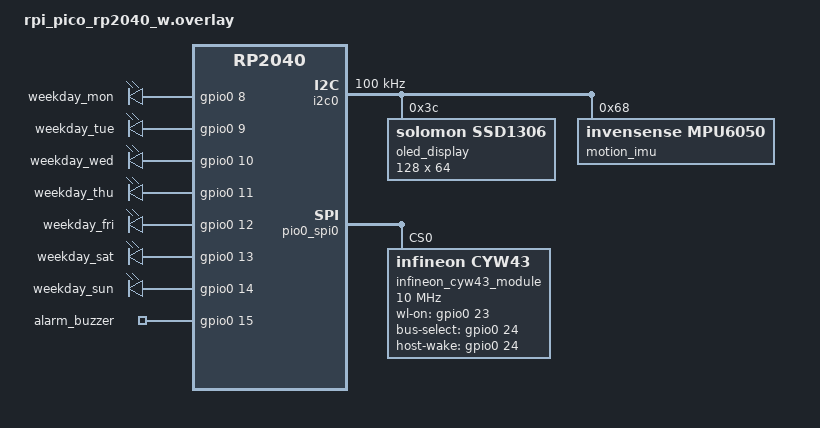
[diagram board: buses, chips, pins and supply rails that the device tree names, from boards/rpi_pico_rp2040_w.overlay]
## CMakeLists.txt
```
# SPDX-License-Identifier: Apache-2.0

cmake_minimum_required(VERSION 3.20.0)

# Pull in the zephyr-cyw43-driver as an extra Zephyr module.
# This project is used in two workspace layouts:
# 1. Original local workspace: <topdir>/pico_w_peripheral_bt and <topdir>/zephyr-cyw43-driver
# 2. Manifest clone via `west init -l .`: <topdir>/pico-w-peripheral-bt-manifest/pico_w_peripheral_bt
#    and <topdir>/zephyr-cyw43-driver
set(cyw43_module_candidates
  "${CMAKE_CURRENT_SOURCE_DIR}/../zephyr-cyw43-driver"
  "${CMAKE_CURRENT_SOURCE_DIR}/../../zephyr-cyw43-driver"
)

foreach(module_dir IN LISTS cyw43_module_candidates)
  if(EXISTS "${module_dir}/zephyr/module.yml")
    set(ZEPHYR_EXTRA_MODULES "${module_dir}")
    break()
  endif()
endforeach()

if(NOT ZEPHYR_EXTRA_MODULES)
  message(FATAL_ERROR
    "zephyr-cyw43-driver module not found. Expected one of: ${cyw43_module_candidates}"
  )
endif()

find_package(Zephyr REQUIRED HINTS $ENV{ZEPHYR_BASE})
project(pico_w_peripheral_bt)

target_sources(app PRIVATE
  src/main.c
  src/app_api.c
  src/pill/alarm/alarm_model.c
  src/pill/alarm/alarm_scheduler.c
  src/pill/alarm/alarm_ctrl.c
  src/pill/services/app_settings.c
  src/pill/hw/pill_hw.c
  src/pill/hw/display.c
  src/pill/hw/leds.c
  src/pill/hw/battery_adc.c
  src/pill/services/ble_validation.c
  src/ble/ble_core.c
  src/ble/ble_service.c
  src/ble/services/cts/cts_svc.c
  src/ble/services/ias/ias_svc.c
  src/ble/services/pill/pill_svc.c
)

# Allow source tree and pill include dir to resolve "pill/..." headers
target_include_directories(app PRIVATE
  ${CMAKE_CURRENT_SOURCE_DIR}/src
  ${CMAKE_CURRENT_SOURCE_DIR}/src/pill/include
)
```

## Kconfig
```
# SPDX-License-Identifier: Apache-2.0

menu "Pico W Smart Pill Alarm"

config PILL_MAX_ALARMS
	int "Maximum stored alarms"
	range 1 16
	default 8
	help
	  Maximum number of medication alarms stored in flash and exposed over BLE.

config PILL_MAX_KINDS
		int "Maximum pill kinds"
		range 1 64
		default 64
		help
			Maximum number of pill kinds that can be named and selected on the device.
			Controls the size of the pill-kind name table and the bitmask width.

config PILL_LOW_BATTERY_THRESHOLD_PERCENT
	int "Low battery threshold percent"
	range 1 99
	default 20
	help
	  Battery percentage threshold used to flag low-battery state and notify BLE peers.

config PILL_MOTION_THRESHOLD_MILLI_G
	int "Motion clear threshold (milli-g)"
	range 100 5000
	default 600
	help
	  Motion magnitude threshold for clearing an active alarm with MPU-6050.

config PILL_MOTION_HITS_TO_CLEAR
	int "Motion hits required to clear"
	range 1 10
	default 2
	help
	  Number of consecutive motion samples above threshold required to clear alarm.

menu "Module toggles"
	comment "Set any flag to 'n' to disable that module for isolated testing."

config PILL_BUZZER
	bool "Enable buzzer alarm output"
	default y
	help
	  Enable the piezo buzzer (GP15) for alarm notification. When disabled
	  pill_hw_set_alarm_active() becomes a no-op so no GPIO is toggled.

config PILL_MOTION_SENSOR
	bool "Enable motion-sensor alarm cancel"
	default y
	help
	  Enable MPU-6050 accelerometer polling to clear an active alarm on
	  movement. When disabled pill_hw_poll_motion_clear() always returns false.

config PILL_DISPLAY
	bool "Enable OLED display output"
	default y
	help
	  Enable the SSD1306 128x64 OLED display (I2C0). Presenter module is
	  Phase-2; disabling this skips display initialisation at startup.

config PILL_WEEKDAY_LEDS
	bool "Enable weekday LED indicators"
	default y
	help
	  Enable the 7 GPIO weekday LEDs (GP8-GP14). LED runtime control is
	  Phase-2; disabling this skips LED GPIO initialisation.

config PILL_BATTERY_ADC
	bool "Enable real battery ADC measurement"
	default n
	help
	  Use the ADC input (GP26) to measure actual Li-ion battery voltage.
	  Phase-2 feature; when disabled pill_hw_get_battery_percent() returns
	  the compile-time placeholder value 95 %.

config PILL_BLE_SERVICE
	bool "Enable custom pill alarm BLE GATT service"
	default y
	help
	  Register the proprietary pill-alarm GATT service (alarm table,
	  command write, status notify) over BLE. When disabled the device still
	  advertises BAS / CTS / IAS but no pill-service UUID is exposed.

config PILL_SETTINGS
	bool "Enable NVS alarm and epoch persistence"
	default y
	depends on SETTINGS
	help
	  Persist alarm table and last-known epoch to NVS via the settings
	  subsystem so alarms survive a power cycle. When disabled alarms revert
	  to defaults on every boot.

endmenu

endmenu

source "Kconfig.zephyr"
```

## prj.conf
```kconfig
# SPDX-License-Identifier: Apache-2.0
#
# prj.conf for Raspberry Pi Pico W BLE Peripheral application.
#
# The CYW43439 chip on the Pico W exposes Bluetooth via the same SPI bus as
# WiFi (PIO-SPI, not UART).  The beechwoods zephyr-cyw43-driver is used to
# initialise the chip and provide the HCI interface to Zephyr's BT stack.
# A minimal networking layer is required because that driver selects
# WIFI_USE_NATIVE_NETWORKING internally.

# ---------------------------------------------------------------------------
# Stack / heap sizes – the CYW43 driver is stack-hungry
# ---------------------------------------------------------------------------
CONFIG_SYSTEM_WORKQUEUE_STACK_SIZE=4096
CONFIG_MAIN_STACK_SIZE=4096
CONFIG_HEAP_MEM_POOL_SIZE=16384
# BT RX thread stack – default 1024 B is too small when large GATT payloads
# are decoded (e.g. kind-name table). Bump to 2048 B for safety margin.
CONFIG_BT_RX_STACK_SIZE=2048

# ---------------------------------------------------------------------------
# CYW43 WiFi/BT driver (beechwoods – BT-over-SPI support)
# ---------------------------------------------------------------------------
CONFIG_WIFI=y
CONFIG_WIFI_ZEPHYR_CYW43=y

# Disable the official Infineon AIROC WiFi and UART-HCI BT drivers so they
# don't conflict with the beechwoods driver.
CONFIG_WIFI_AIROC=n
CONFIG_CYW43439=n

# Entropy / RNG required by CYW43 driver
CONFIG_ENTROPY_GENERATOR=y
CONFIG_TEST_RANDOM_GENERATOR=y

# ---------------------------------------------------------------------------
# Minimal networking stack (selected by WIFI_ZEPHYR_CYW43)
# ---------------------------------------------------------------------------
CONFIG_NETWORKING=y
CONFIG_NET_L2_ETHERNET=y
CONFIG_NET_IPV4=y
CONFIG_NET_IPV6=n
CONFIG_NET_UDP=y
CONFIG_NET_TCP=y
CONFIG_NET_MGMT=y
CONFIG_NET_MGMT_EVENT=y
CONFIG_NET_CONFIG_SETTINGS=y
CONFIG_NET_CONFIG_AUTO_INIT=n
CONFIG_NET_CONFIG_INIT_TIMEOUT=0

# ---------------------------------------------------------------------------
# Bluetooth – peripheral role
# ---------------------------------------------------------------------------
CONFIG_BT=y
CONFIG_LOG=y
CONFIG_BT_SMP=y
CONFIG_BT_PERIPHERAL=y

# Device Information Service
CONFIG_BT_DIS=y

# Battery Service
CONFIG_BT_BAS=y

# Immediate Alert Service
CONFIG_BT_IAS=y

# Current Time Service
CONFIG_BT_CTS=y
CONFIG_BT_CTS_HELPER_API=y

# Smart pill alarm baseline peripherals
CONFIG_SENSOR=y
CONFIG_MPU6050=y
CONFIG_MPU6050_TRIGGER_NONE=y
CONFIG_DISPLAY=y
CONFIG_SSD1306=y
CONFIG_LED=y
CONFIG_LED_GPIO=y
CONFIG_GPIO=y
CONFIG_I2C=y
CONFIG_ADC=y
CONFIG_PILL_BATTERY_ADC=y

CONFIG_BT_ATT_PREPARE_COUNT=5
CONFIG_BT_PRIVACY=y
CONFIG_BT_DEVICE_NAME="Pico W Pill Alarm"
CONFIG_BT_DEVICE_APPEARANCE=833
CONFIG_BT_DEVICE_NAME_DYNAMIC=y
CONFIG_BT_DEVICE_NAME_MAX=65
CONFIG_BT_MAX_CONN=4
CONFIG_BT_ID_MAX=2

CONFIG_PILL_MAX_ALARMS=16
CONFIG_PILL_LOW_BATTERY_THRESHOLD_PERCENT=20
CONFIG_PILL_MOTION_THRESHOLD_MILLI_G=600
CONFIG_PILL_MOTION_HITS_TO_CLEAR=2



# ---------------------------------------------------------------------------
# Persistent bond / settings storage (NVS on internal flash)
# ---------------------------------------------------------------------------
CONFIG_BT_KEYS_OVERWRITE_OLDEST=y
CONFIG_BT_SETTINGS=y
CONFIG_FLASH=y
CONFIG_FLASH_MAP=y
CONFIG_FLASH_PAGE_LAYOUT=y
CONFIG_NVS=y
CONFIG_SETTINGS=y
```

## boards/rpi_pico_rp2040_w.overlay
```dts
/*
 * Copyright (c) 2024
 * SPDX-License-Identifier: Apache-2.0
 *
 * DTS overlay for Raspberry Pi Pico W - BLE peripheral application.
 * Uses the beechwoods zephyr-cyw43-driver for BT-over-SPI on the CYW43439.
 */

/ {
	chosen {
		zephyr,bt_hci = &cyw43_bt_hci;
		zephyr,display = &oled_display;
	};

	aliases {
		alarm-buzzer = &alarm_buzzer;
		motion-imu = &motion_imu;
		weekday-led0 = &weekday_led0;
		weekday-led1 = &weekday_led1;
		weekday-led2 = &weekday_led2;
		weekday-led3 = &weekday_led3;
		weekday-led4 = &weekday_led4;
		weekday-led5 = &weekday_led5;
		weekday-led6 = &weekday_led6;
	};

	leds {
		compatible = "gpio-leds";

		weekday_led0: weekday_led0 {
			gpios = <&gpio0 8 GPIO_ACTIVE_HIGH>;
			label = "weekday_mon";
		};
		weekday_led1: weekday_led1 {
			gpios = <&gpio0 9 GPIO_ACTIVE_HIGH>;
			label = "weekday_tue";
		};
		weekday_led2: weekday_led2 {
			gpios = <&gpio0 10 GPIO_ACTIVE_HIGH>;
			label = "weekday_wed";
		};
		weekday_led3: weekday_led3 {
			gpios = <&gpio0 11 GPIO_ACTIVE_HIGH>;
			label = "weekday_thu";
		};
		weekday_led4: weekday_led4 {
			gpios = <&gpio0 12 GPIO_ACTIVE_HIGH>;
			label = "weekday_fri";
		};
		weekday_led5: weekday_led5 {
			gpios = <&gpio0 13 GPIO_ACTIVE_HIGH>;
			label = "weekday_sat";
		};
		weekday_led6: weekday_led6 {
			gpios = <&gpio0 14 GPIO_ACTIVE_HIGH>;
			label = "weekday_sun";
		};

		alarm_buzzer: alarm_buzzer {
			gpios = <&gpio0 15 GPIO_ACTIVE_HIGH>;
			label = "alarm_buzzer";
		};
	};
};

/* Disable the stock AIROC node so it does not conflict */
&pio0_spi0 {
	airoc-wifi@0 {
		status = "disabled";
	};
};

/* Delete the old cyw43_gpio label from the disabled node to avoid conflict */
/delete-node/ &cyw43_gpio;

/*
 * Repartition flash to carve out storage for BT settings (NVS backend).
 * Flash is 2MB. Layout:
 *   0x000000 - 0x0000FF : second_stage_bootloader (256 B)
 *   0x000100 - 0x1BFFFF : code_partition (~1.75 MB)
 *   0x1C0000 - 0x1FFFFF : storage_partition (256 KB, 4 NVS sectors)
 */
&code_partition {
	reg = <0x100 0x1BFF00>;
};

&flash0 {
	partitions {
		storage_partition: partition@1c0000 {
			label = "storage";
			reg = <0x1c0000 DT_SIZE_K(256)>;
		};
	};
};

&i2c0 {
	status = "okay";
	clock-frequency = <I2C_BITRATE_STANDARD>;
	pinctrl-0 = <&i2c0_default>;
	pinctrl-names = "default";

	oled_display: ssd1306@3c {
		compatible = "solomon,ssd1306";
		reg = <0x3c>;
		segment-offset = <0>;
		page-offset = <0>;
		display-offset = <0>;
		multiplex-ratio = <63>;
		prechargep = <0x22>;
		height = <64>;
		width = <128>;
		segment-remap;
		com-invdir;
	};

	motion_imu: mpu6050@68 {
		compatible = "invensense,mpu6050";
		reg = <0x68>;
	};
};

/* Add the beechwoods CYW43 node with all required child nodes */
&pio0 {
	pio0_spi0: pio0_spi0 {
		infineon_cyw43_module: infineon_cyw43_module@0 {
			compatible = "infineon,cyw43";
			reg = <0x0>;
			spi-max-frequency = <10000000>;

			wl-on-gpios = <&gpio0 23 GPIO_ACTIVE_HIGH>;
			bus-select-gpios = <&gpio0 24 GPIO_ACTIVE_HIGH>;
			host-wake-gpios = <&gpio0 24 GPIO_ACTIVE_HIGH>;

			pinctrl-0 = <&airoc_wifi_default>;
			pinctrl-1 = <&airoc_wifi_host_wake>;
			pinctrl-names = "default", "host_wake";
			status = "okay";

			cyw43_led: cyw43_led {
				compatible = "infineon,cyw43-led";
			};

			cyw43_gpio: cyw43_gpio {
				compatible = "infineon,cyw43-gpio";
				gpio-controller;
				#gpio-cells = <2>;
				ngpios = <3>;
			};

			cyw43_bt_hci: cyw43_bt_hci {
				compatible = "infineon,cyw43-bt-hci";
				status = "okay";
			};
		};
	};
};
```

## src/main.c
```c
/* main.c - Smart Pill Alarm entry point for Raspberry Pi Pico W
 *
 * SPDX-License-Identifier: Apache-2.0
 *
 * Responsibilities (SRP):
 *   - Init all subsystems in the correct order.
 *   - Run the 1-second application tick loop.
 *   - Route tick results to BLE service outputs.
 *
 * Architecture:
 *   BLE framework (ble_core + ble_service) handles stack init,
 *   advertising, connection management, and service lifecycle.
 *   Each service is a self-contained module in ble/services/<svc>/.
 *
 *   Adding/removing a service:
 *     1. Create/delete directory with svc.h + svc.c
 *     2. Edit registry array in ble_service.c
 *     3. Add/remove source file in CMakeLists.txt
 *     4. No changes to main.c needed.
 */

#include <zephyr/bluetooth/services/bas.h>
#include <zephyr/kernel.h>
#include <zephyr/logging/log.h>

#include "app_api.h"
#include "ble/ble_core.h"
#include "ble/ble_service.h"
#include "pill/alarm_ctrl.h"
#include "pill/pill_hw.h"
#include "pill/display.h"
#include "pill/leds.h"

LOG_MODULE_REGISTER(main);

/* ---------------------------------------------------------------------------
 * BLE core event callbacks
 * -------------------------------------------------------------------------*/

static void on_connected(bool connected)
{
	if (connected) {
		LOG_INF("app: BLE connected");
		alarm_ctrl_set_connected(true);
	} else {
		LOG_INF("app: BLE disconnected — silencing alarm");
		alarm_ctrl_set_connected(false);
		alarm_ctrl_set_active(false, 0xFFU);
	}
}

static const struct ble_core_events g_core_events = {
	.on_connected = on_connected,
};

/* ---------------------------------------------------------------------------
 * Application entry point
 * -------------------------------------------------------------------------*/

int main(void)
{
	int err;
	const struct alarm_ctrl_api *api;
	struct app_api app;
	bool was_connected = false;
	uint8_t last_battery_percent = 0xFFU;

	LOG_INF("Pico W Smart Pill Alarm starting");

	/* Hardware must be quiet before BLE or domain init runs. */
	err = pill_hw_init();
	if (err != 0) {
		LOG_ERR("pill_hw_init failed (%d)", err);
		/* Continue — hardware init failure is non-fatal. */
	}

	/* Initialise domain state; loads persisted alarms/epoch if enabled. */
	alarm_ctrl_init();
	api = alarm_ctrl_get_api();

	/* Build aggregated app API for the service registry.
	 * Each service extracts only its own sub-API (Interface Segregation). */
	app = app_api_build(api);

	/* Initialise BLE core (bt_enable, callbacks, auth). */
	err = ble_core_init(&g_core_events);
	if (err != 0) {
		LOG_ERR("ble_core_init failed (%d)", err);
		return 0;
	}

	/* Start advertising (loads bonds, sets bondable mode). */
	err = ble_core_start_advertising();
	if (err != 0) {
		LOG_ERR("ble_core_start_advertising failed (%d)", err);
		return 0;
	}

	/* Initialise all registered BLE services.
	 * Each service's init() receives the app_api and extracts
	 * only the API pointers it needs. */
	ble_service_init_all(&app);

	/* Phase-2 presenters: display and weekday LEDs (console fallbacks).
	 * These are no-ops when the corresponding CONFIG flags are disabled. */
	(void)pill_display_init();
	(void)pill_leds_init();

	/* ------------------------------------------------------------------
	 * 1-second application tick loop
	 * ------------------------------------------------------------------*/
	while (1) {
		const struct alarm_ctrl_status *status;

		/* Domain tick: check motion, fire due alarms, update battery. */
		api->tick();
		status = api->get_status();

		/* Publish BAS only when connected and only on meaningful changes.
		 * This avoids periodic battery reports while disconnected.
		 */
		if (status->connected) {
			if (!was_connected ||
			    status->battery_percent != last_battery_percent) {
				int rc = bt_bas_set_battery_level(
						status->battery_percent);

				if (rc != 0) {
					LOG_WRN("bt_bas_set_battery_level returned %d", rc);
				} else {
					last_battery_percent = status->battery_percent;
				}
			}
		}
		was_connected = status->connected;

		/* Tick all registered BLE services (CTS notify, pill status, etc.). */
		ble_service_tick_all();

		/* Poll BLE core for maintenance tasks (advertising restart watchdog). */
		ble_core_poll();

		/* Update display presenter and weekday LEDs (Phase-2). */
		pill_display_show_status(status);
		{
			int64_t epoch = api->get_epoch_s();

			if (epoch > 0) {
				uint8_t weekday = (uint8_t)(((epoch / 86400) + 3) % 7);

				pill_leds_show_weekday(weekday);
			}
		}

		k_sleep(K_SECONDS(1));
	}

	return 0;
}
```

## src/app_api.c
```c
/* app_api.c - Build aggregated app API from alarm_ctrl_api
 *
 * SPDX-License-Identifier: Apache-2.0
 */

#include <stddef.h>

#include "app_api.h"

struct app_api app_api_build(const struct alarm_ctrl_api *alarm_api)
{
	struct app_api api;

	/* Zero-initialise everything to catch missing assignments. */
	api.cts.set_time_base = NULL;
	api.cts.get_epoch_s   = NULL;
	api.ias.set_active    = NULL;
	api.pill.set_active      = NULL;
	api.pill.is_active       = NULL;
	api.pill.get_active_idx  = NULL;
	api.pill.get_table       = NULL;
	api.pill.get_kind_table  = NULL;
	api.pill.get_status      = NULL;

	if (alarm_api == NULL) {
		return api;
	}

	/* CTS service only needs time-base functions. */
	api.cts.set_time_base = alarm_api->set_time_base;
	api.cts.get_epoch_s   = alarm_api->get_epoch_s;

	/* IAS service only needs set_active. */
	api.ias.set_active = alarm_api->set_active;

	/* Pill service needs the full alarm control interface. */
	api.pill.set_active     = alarm_api->set_active;
	api.pill.is_active      = alarm_api->is_active;
	api.pill.get_active_idx = alarm_api->get_active_idx;
	api.pill.get_table      = alarm_api->get_table;
	api.pill.get_kind_table = alarm_api->get_kind_table;
	api.pill.get_status     = alarm_api->get_status;

	return api;
}
```

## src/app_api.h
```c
/* app_api.h - Aggregated per-service API structs
 *
 * SPDX-License-Identifier: Apache-2.0
 *
 * Following Interface Segregation Principle, each BLE service
 * defines only the API struct it actually needs. This header
 * aggregates them all into a single struct that is built from
 * the alarm_ctrl_api and passed to ble_service_init_all().
 */

#ifndef APP_API_H_
#define APP_API_H_

#include <stdbool.h>
#include <stdint.h>

#include "pill/alarm_ctrl.h"
#include "pill/alarm_model.h"

/* ---------------------------------------------------------------------------
 * CTS service API — subset of alarm_ctrl_api
 * -------------------------------------------------------------------------*/
struct cts_svc_api {
	void (*set_time_base)(int64_t epoch_s, int64_t uptime_ms);
	int64_t (*get_epoch_s)(void);
};

/* ---------------------------------------------------------------------------
 * IAS service API — subset of alarm_ctrl_api
 * -------------------------------------------------------------------------*/
struct ias_svc_api {
	void (*set_active)(bool active, uint8_t alarm_index);
};

/* ---------------------------------------------------------------------------
 * Pill service API — full alarm_ctrl functions needed by pill_svc
 * -------------------------------------------------------------------------*/
struct pill_svc_api {
	void (*set_active)(bool active, uint8_t alarm_index);
	bool (*is_active)(void);
	uint8_t (*get_active_idx)(void);
	struct pill_alarm_table *(*get_table)(void);
	struct pill_kind_table *(*get_kind_table)(void);
	const struct alarm_ctrl_status *(*get_status)(void);
};

/* ---------------------------------------------------------------------------
 * Aggregated app API — built from alarm_ctrl_get_api()
 * -------------------------------------------------------------------------*/
struct app_api {
	struct cts_svc_api  cts;
	struct ias_svc_api  ias;
	struct pill_svc_api pill;
};

/**
 * @brief Build an app_api struct from the alarm controller API.
 *
 * Wraps each alarm_ctrl_api function pointer into the appropriate
 * per-service sub-struct. Safe to call once at startup.
 *
 * @param alarm_api  Pointer to alarm_ctrl_api (must remain valid).
 * @return Populated app_api struct.
 */
struct app_api app_api_build(const struct alarm_ctrl_api *alarm_api);

#endif /* APP_API_H_ */
```
